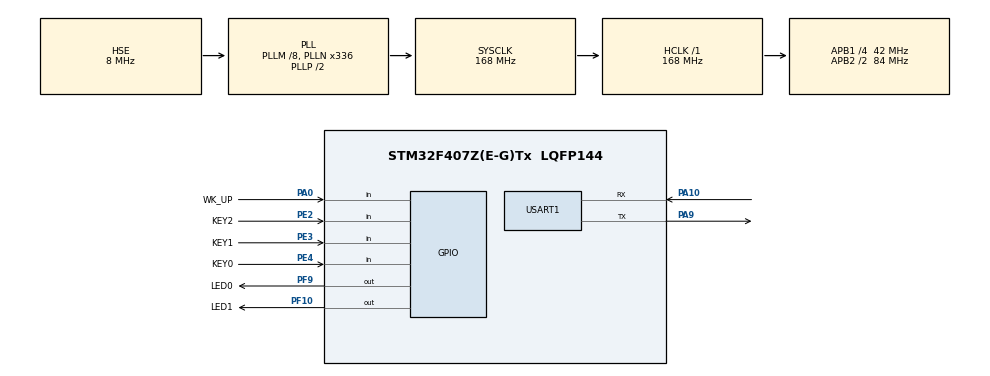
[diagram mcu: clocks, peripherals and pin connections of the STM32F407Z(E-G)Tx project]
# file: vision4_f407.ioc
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Mcu.Family=STM32F4
Mcu.Name=STM32F407Z(E-G)Tx
Mcu.Package=LQFP144
NVIC.PriorityGroup=NVIC_PRIORITYGROUP_4
NVIC.USART1_IRQn=true\:0\:0\:false\:false\:true\:true\:true\:true
PA0-WKUP.GPIO_Label=WK_UP
PA0-WKUP.GPIO_PuPd=GPIO_PULLDOWN
PA0-WKUP.Signal=GPIO_Input
PA10.Mode=Asynchronous
PA10.Signal=USART1_RX
PA13.Mode=Serial_Wire
PA13.Signal=SYS_JTMS-SWDIO
PA14.Mode=Serial_Wire
PA14.Signal=SYS_JTCK-SWCLK
PA9.Mode=Asynchronous
PA9.Signal=USART1_TX
PE2.GPIO_Label=KEY2
PE2.GPIO_PuPd=GPIO_PULLUP
PE2.Signal=GPIO_Input
PE3.GPIO_Label=KEY1
PE3.GPIO_PuPd=GPIO_PULLUP
PE3.Signal=GPIO_Input
PE4.GPIO_Label=KEY0
PE4.GPIO_PuPd=GPIO_PULLUP
PE4.Signal=GPIO_Input
PF10.GPIO_Label=LED1
PF10.GPIO_Speed=GPIO_SPEED_FREQ_HIGH
PF10.Signal=GPIO_Output
PF9.GPIO_Label=LED0
PF9.GPIO_PuPd=GPIO_NOPULL
PF9.GPIO_Speed=GPIO_SPEED_FREQ_HIGH
PF9.Signal=GPIO_Output
PH0-OSC_IN.Mode=HSE-External-Oscillator
PH0-OSC_IN.Signal=RCC_OSC_IN
PH1-OSC_OUT.Mode=HSE-External-Oscillator
PH1-OSC_OUT.Signal=RCC_OSC_OUT
ProjectManager.HeapSize=0x200
ProjectManager.StackSize=0x400
ProjectManager.TargetToolchain=CMake
RCC.48MHZClocksFreq_Value=84000000
RCC.AHBFreq_Value=168000000
RCC.APB1CLKDivider=RCC_HCLK_DIV4
RCC.APB1Freq_Value=42000000
RCC.APB1TimFreq_Value=84000000
RCC.APB2CLKDivider=RCC_HCLK_DIV2
RCC.APB2Freq_Value=84000000
RCC.APB2TimFreq_Value=168000000
RCC.CortexFreq_Value=168000000
RCC.HCLKFreq_Value=168000000
RCC.HSE_VALUE=8000000
RCC.HSI_VALUE=16000000
RCC.LSE_VALUE=32768
RCC.PLLM=8
RCC.PLLN=336
RCC.PLLSourceVirtual=RCC_PLLSOURCE_HSE
RCC.SYSCLKFreq_VALUE=168000000
RCC.SYSCLKSource=RCC_SYSCLKSOURCE_PLLCLK
RCC.VCOOutputFreq_Value=336000000
USART1.VirtualMode=VM_ASYNC
board=custom

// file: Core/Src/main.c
/* USER CODE BEGIN Header */
/**
  ******************************************************************************
  * @file           : main.c
  * @brief          : Main program body
  ******************************************************************************
  * @attention
  *
  * Copyright (c) 2026 STMicroelectronics.
  * All rights reserved.
  *
  * This software is licensed under terms that can be found in the LICENSE file
  * in the root directory of this software component.
  * If no LICENSE file comes with this software, it is provided AS-IS.
  *
  ******************************************************************************
  */
/* USER CODE END Header */
#include "main.h"
#include "usart.h"
#include "gpio.h"

/* USER CODE BEGIN Includes */
#include <stdio.h>
#include <string.h>
/* USER CODE END Includes */

/* USER CODE BEGIN PD */
/*
 * 视觉任务四 STM32 端（正点原子探索者 STM32F407ZGT6，HAL 库）
 * USART1 (PA9/PA10) -> 板载 CH340 -> USB_232 口，115200 8N1，中文按 UTF-8 发送
 *
 * KEY0  -> "我爱视觉"   基础部分（VOFA+ 用 RawData 协议、UTF-8 编码查看）
 * KEY1  -> "#CAP"      PC 拍一张照片并识别
 * KEY2  -> "#ENROLL"   PC 现场录入人脸特征
 * WK_UP -> "#CAP3"     PC 连拍 3 张做对照
 * PC 回传 "R:<name>,<MASK|NOMASK>,<sim>\r\n"：LED1 亮 = 戴口罩，LED1 灭 = 未戴口罩/无人脸
 */
#define RX_BUF_SIZE 128

#define KEY_NONE   0
#define KEY0_PRES  1
#define KEY1_PRES  2
#define KEY2_PRES  3
#define WKUP_PRES  4

#define LED_ON(n)     HAL_GPIO_WritePin(n##_GPIO_Port, n##_Pin, GPIO_PIN_RESET) /* 低电平点亮 */
#define LED_OFF(n)    HAL_GPIO_WritePin(n##_GPIO_Port, n##_Pin, GPIO_PIN_SET)
#define LED_TOGGLE(n) HAL_GPIO_TogglePin(n##_GPIO_Port, n##_Pin)
/* USER CODE END PD */

/* USER CODE BEGIN PV */
static uint8_t rx_dma_buf[RX_BUF_SIZE];          /* HAL 接收缓冲 */
static char rx_line[RX_BUF_SIZE];                /* 一条完整的 PC 回传 */
static uint16_t rx_line_len = 0;
static volatile uint8_t rx_line_ready = 0;
/* USER CODE END PV */

void SystemClock_Config(void);
/* USER CODE BEGIN PFP */
static uint8_t Key_Scan(void);
static void UART_StartRx(void);
static void Handle_PcReply(void);
/* USER CODE END PFP */

/* USER CODE BEGIN 0 */
/* printf 重定向到 USART1（覆盖 syscalls.c 中的弱定义 _write） */
int _write(int file, char *ptr, int len)
{
  (void)file;
  HAL_UART_Transmit(&huart1, (uint8_t *)ptr, (uint16_t)len, HAL_MAX_DELAY);
  return len;
}

/* 按键扫描：不支持连按，松开后才能再次触发。KEY0~2 低电平有效，WK_UP 高电平有效 */
static uint8_t Key_Scan(void)
{
  static uint8_t released = 1;
  uint8_t k0 = HAL_GPIO_ReadPin(KEY0_GPIO_Port, KEY0_Pin) == GPIO_PIN_RESET;
  uint8_t k1 = HAL_GPIO_ReadPin(KEY1_GPIO_Port, KEY1_Pin) == GPIO_PIN_RESET;
  uint8_t k2 = HAL_GPIO_ReadPin(KEY2_GPIO_Port, KEY2_Pin) == GPIO_PIN_RESET;
  uint8_t wk = HAL_GPIO_ReadPin(WK_UP_GPIO_Port, WK_UP_Pin) == GPIO_PIN_SET;

  if (released && (k0 || k1 || k2 || wk))
  {
    HAL_Delay(10);                                  /* 消抖 */
    released = 0;
    if (HAL_GPIO_ReadPin(KEY0_GPIO_Port, KEY0_Pin) == GPIO_PIN_RESET) return KEY0_PRES;
    if (HAL_GPIO_ReadPin(KEY1_GPIO_Port, KEY1_Pin) == GPIO_PIN_RESET) return KEY1_PRES;
    if (HAL_GPIO_ReadPin(KEY2_GPIO_Port, KEY2_Pin) == GPIO_PIN_RESET) return KEY2_PRES;
    if (HAL_GPIO_ReadPin(WK_UP_GPIO_Port, WK_UP_Pin) == GPIO_PIN_SET) return WKUP_PRES;
    released = 1;                                   /* 抖动误触发，丢弃 */
  }
  else if (!k0 && !k1 && !k2 && !wk)
  {
    released = 1;
  }
  return KEY_NONE;
}

/* 开启“接收到空闲”中断：PC 一次发完一行，总线空闲时进回调 */
static void UART_StartRx(void)
{
  HAL_UARTEx_ReceiveToIdle_IT(&huart1, rx_dma_buf, RX_BUF_SIZE);
}

void HAL_UARTEx_RxEventCallback(UART_HandleTypeDef *huart, uint16_t Size)
{
  if (huart->Instance == USART1)
  {
    if (!rx_line_ready)                             /* 上一行还没处理就丢弃新数据 */
    {
      uint16_t n = Size < RX_BUF_SIZE - 1 ? Size : RX_BUF_SIZE - 1;
      memcpy(rx_line, rx_dma_buf, n);
      rx_line[n] = '\0';
      rx_line_len = n;
      rx_line_ready = 1;
    }
    UART_StartRx();
  }
}

void HAL_UART_ErrorCallback(UART_HandleTypeDef *huart)
{
  if (huart->Instance == USART1)
  {
    UART_StartRx();                                 /* 溢出/帧错误后重新开始接收 */
  }
}

/* 解析 PC 回传结果，例如 "R:ZhangSan,NOMASK,0.72" / "R:-,MASK,0.00" / "R:NOFACE" */
static void Handle_PcReply(void)
{
  while (rx_line_len && (rx_line[rx_line_len - 1] == '\r' || rx_line[rx_line_len - 1] == '\n'))
  {
    rx_line[--rx_line_len] = '\0';
  }
  if (strncmp(rx_line, "R:", 2) != 0)
  {
    return;
  }
  if (strstr(rx_line, ",MASK"))
  {
    LED_ON(LED1);
  }
  else
  {
    LED_OFF(LED1);
  }
  printf("STM32 收到识别结果: %s\r\n", rx_line + 2);
}
/* USER CODE END 0 */

int main(void)
{

  /* MCU Configuration--------------------------------------------------------*/

  /* Reset of all peripherals, Initializes the Flash interface and the Systick. */
  HAL_Init();

  /* Configure the system clock */
  SystemClock_Config();

  /* Initialize all configured peripherals */
  MX_GPIO_Init();
  MX_USART1_UART_Init();
  /* USER CODE BEGIN 2 */
  LED_OFF(LED0);
  LED_OFF(LED1);
  UART_StartRx();
  printf("STM32 就绪: KEY0=我爱视觉 KEY1=拍照 KEY2=录入 WK_UP=连拍3张\r\n");
  /* USER CODE END 2 */

  /* Infinite loop */
  while (1)
  {

    /* USER CODE BEGIN 3 */
    switch (Key_Scan())
    {
      case KEY0_PRES:
        printf("我爱视觉\r\n");
        LED_TOGGLE(LED0);
        break;
      case KEY1_PRES:
        printf("#CAP\r\n");
        LED_TOGGLE(LED0);
        break;
      case KEY2_PRES:
        printf("#ENROLL\r\n");
        LED_TOGGLE(LED0);
        break;
      case WKUP_PRES:
        printf("#CAP3\r\n");
        LED_TOGGLE(LED0);
        break;
      default:
        break;
    }

    if (rx_line_ready)
    {
      Handle_PcReply();
      rx_line_ready = 0;
    }

    /* 若接收在发送期间因忙而未能重新启动，这里补救 */
    if (huart1.RxState == HAL_UART_STATE_READY)
    {
      UART_StartRx();
    }

    HAL_Delay(5);
  }
  /* USER CODE END 3 */
}

void SystemClock_Config(void)
{
  RCC_OscInitTypeDef RCC_OscInitStruct = {0};
  RCC_ClkInitTypeDef RCC_ClkInitStruct = {0};

  /** Configure the main internal regulator output voltage
  */
  __HAL_RCC_PWR_CLK_ENABLE();
  __HAL_PWR_VOLTAGESCALING_CONFIG(PWR_REGULATOR_VOLTAGE_SCALE1);

  /** Initializes the RCC Oscillators according to the specified parameters
  * in the RCC_OscInitTypeDef structure.
  */
  RCC_OscInitStruct.OscillatorType = RCC_OSCILLATORTYPE_HSE;
  RCC_OscInitStruct.HSEState = RCC_HSE_ON;
  RCC_OscInitStruct.PLL.PLLState = RCC_PLL_ON;
  RCC_OscInitStruct.PLL.PLLSource = RCC_PLLSOURCE_HSE;
  RCC_OscInitStruct.PLL.PLLM = 8;
  RCC_OscInitStruct.PLL.PLLN = 336;
  RCC_OscInitStruct.PLL.PLLP = RCC_PLLP_DIV2;
  RCC_OscInitStruct.PLL.PLLQ = 4;
  if (HAL_RCC_OscConfig(&RCC_OscInitStruct) != HAL_OK)
  {
    Error_Handler();
  }

  /** Initializes the CPU, AHB and APB buses clocks
  */
  RCC_ClkInitStruct.ClockType = RCC_CLOCKTYPE_HCLK|RCC_CLOCKTYPE_SYSCLK
                              |RCC_CLOCKTYPE_PCLK1|RCC_CLOCKTYPE_PCLK2;
  RCC_ClkInitStruct.SYSCLKSource = RCC_SYSCLKSOURCE_PLLCLK;
  RCC_ClkInitStruct.AHBCLKDivider = RCC_SYSCLK_DIV1;
  RCC_ClkInitStruct.APB1CLKDivider = RCC_HCLK_DIV4;
  RCC_ClkInitStruct.APB2CLKDivider = RCC_HCLK_DIV2;

  if (HAL_RCC_ClockConfig(&RCC_ClkInitStruct, FLASH_LATENCY_5) != HAL_OK)
  {
    Error_Handler();
  }
}

void Error_Handler(void)
{
  __disable_irq();
  while (1)
  {
  }
}
